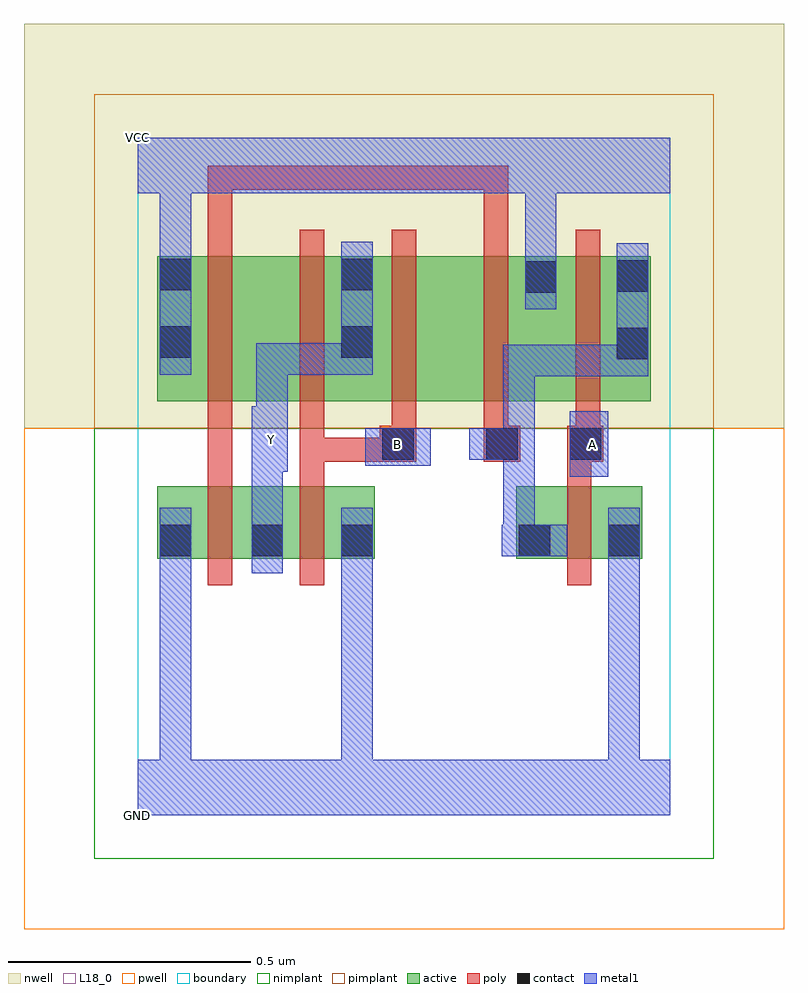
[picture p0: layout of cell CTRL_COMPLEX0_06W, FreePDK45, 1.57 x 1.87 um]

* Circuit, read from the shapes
.subckt CTRL_COMPLEX0_06W A B GND VCC Y
M1 Y n1 GND VSUBS nfet w=0.15u l=0.05u
M2 GND B Y VSUBS nfet w=0.15u l=0.05u
M3 GND A n1 VSUBS nfet w=0.15u l=0.05u
M4 n2 n1 VCC n3 pfet w=0.3u l=0.05u
M5 Y B n2 n3 pfet w=0.3u l=0.05u
M6 n4 B Y n3 pfet w=0.3u l=0.05u
M7 VCC n1 n4 n3 pfet w=0.3u l=0.05u
M8 n1 A VCC n3 pfet w=0.3u l=0.05u
.ends

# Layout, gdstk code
import gdstk
lib = gdstk.Library(unit=1e-6, precision=1e-09)
def R(c, l, rs):  # rectangles x0, y0, x1, y1
    for r in rs: c.add(gdstk.rectangle(r[:2], r[2:], *l))
def A(c, l, x, y, w, h, nx, ny, dx, dy):  # array of equal rectangles
    R(c, l, [(x+i*dx, y+j*dy, x+i*dx+w, y+j*dy+h) for i in range(nx) for j in range(ny)])
active = (1, 0)
pwell = (2, 0)
nwell = (3, 0)
nimplant = (4, 0)
pimplant = (5, 0)
poly = (9, 0)
contact = (10, 0)
metal1 = (11, 0)
L18_0 = (18, 0)
boundary = (235, 0)

ctrl_complex0_06w = lib.new_cell('CTRL_COMPLEX0_06W')
R(ctrl_complex0_06w, active, [(0.04,0.53,0.115,0.68), (0.04,0.53,0.305,0.68), (0.23,0.53,0.305,0.68), (0.23,0.53,0.49,0.68), (0.415,0.53,0.49,0.68), (0.782,0.53,0.857,0.68), (0.782,0.53,1.042,0.68), (0.967,0.53,1.042,0.68), (0.04,0.855,0.115,1.155), (0.04,0.855,0.265,1.155), (0.265,0.855,0.49,1.155), (0.415,0.855,0.645,1.155), (0.645,0.855,0.87,1.155), (0.795,0.855,0.87,1.155), (0.795,0.855,1.06,1.155), (0.985,0.855,1.06,1.155), (0.415,0.882,0.49,1.155)])
R(ctrl_complex0_06w, pwell, [(-0.235,-0.235,1.335,0.8)])
R(ctrl_complex0_06w, nwell, [(-0.235,0.8,1.335,1.635)])
R(ctrl_complex0_06w, nimplant, [(-0.09,-0.09,1.19,0.8)])
R(ctrl_complex0_06w, pimplant, [(-0.09,0.8,1.19,1.49)])
A(ctrl_complex0_06w, poly, 0.525, 0.755, 0.05, 0.095, 3, 1, 0.19, 0)
A(ctrl_complex0_06w, poly, 0.145, 0.8, 0.05, 0.41, 5, 1, 0.19, 0)
R(ctrl_complex0_06w, poly, [(0.145,0.475,0.195,0.735), (0.335,0.475,0.385,0.735), (0.887,0.475,0.937,0.735), (0.145,0.685,0.195,0.805), (0.335,0.685,0.385,0.78), (0.887,0.685,0.937,0.78), (0.335,0.73,0.385,0.78), (0.335,0.73,0.385,0.78), (0.335,0.73,0.385,0.78), (0.335,0.73,0.55,0.78), (0.335,0.73,0.385,0.85), (0.5,0.73,0.575,0.805), (0.715,0.73,0.79,0.805), (0.887,0.73,0.962,0.805), (0.145,0.755,0.195,0.85), (0.145,0.755,0.195,0.805), (0.145,1.16,0.195,1.342), (0.715,1.16,0.765,1.342), (0.145,1.292,0.195,1.342), (0.145,1.292,0.195,1.342), (0.145,1.292,0.195,1.342), (0.145,1.292,0.417,1.342), (0.367,1.292,0.417,1.342), (0.367,1.292,0.542,1.342), (0.492,1.292,0.632,1.342), (0.492,1.292,0.542,1.342), (0.582,1.292,0.632,1.342), (0.582,1.292,0.675,1.342), (0.625,1.292,0.765,1.342), (0.625,1.292,0.675,1.342), (0.715,1.292,0.765,1.342)])
R(ctrl_complex0_06w, contact, [(0.045,0.535,0.11,0.6), (0.235,0.535,0.3,0.6), (0.42,0.535,0.485,0.6), (0.787,0.535,0.852,0.6), (0.972,0.535,1.037,0.6), (0.505,0.735,0.57,0.8), (0.72,0.735,0.785,0.8), (0.892,0.735,0.957,0.8), (0.99,0.942,1.055,1.007), (0.045,0.945,0.11,1.01), (0.42,0.945,0.485,1.01), (0.8,1.08,0.865,1.145), (0.99,1.082,1.055,1.147), (0.045,1.085,0.11,1.15), (0.42,1.085,0.485,1.15)])
R(ctrl_complex0_06w, metal1, [(0,0,1.1,0.115), (0.045,0.05,0.11,0.115), (0.045,0.05,0.11,0.115), (0.045,0.05,0.11,0.427), (0.42,0.05,0.485,0.115), (0.42,0.05,0.485,0.115), (0.42,0.05,0.485,0.115), (0.42,0.05,0.485,0.115), (0.42,0.05,0.485,0.115), (0.42,0.05,0.485,0.115), (0.42,0.05,0.485,0.565), (0.972,0.05,1.037,0.565), (0.045,0.362,0.11,0.427), (0.045,0.362,0.11,0.427), (0.045,0.362,0.11,0.427), (0.045,0.362,0.11,0.427), (0.045,0.362,0.11,0.427), (0.045,0.362,0.11,0.565), (0.045,0.5,0.11,0.635), (0.235,0.5,0.3,0.635), (0.42,0.5,0.485,0.565), (0.42,0.5,0.485,0.565), (0.42,0.5,0.485,0.635), (0.972,0.5,1.037,0.565), (0.972,0.5,1.037,0.565), (0.972,0.5,1.037,0.565), (0.972,0.5,1.037,0.565), (0.972,0.5,1.037,0.565), (0.972,0.5,1.037,0.565), (0.972,0.5,1.037,0.565), (0.972,0.5,1.037,0.565), (0.972,0.5,1.037,0.635), (0.752,0.535,0.887,0.6), (0.755,0.535,0.82,0.8), (0.235,0.57,0.3,0.775), (0.892,0.7,0.972,0.835), (0.235,0.71,0.31,0.845), (0.47,0.722,0.605,0.8), (0.685,0.735,0.82,0.8), (0.755,0.735,0.82,0.8), (0.755,0.735,0.82,0.8), (0.755,0.735,0.82,0.972), (0.245,0.78,0.31,0.975), (0.755,0.907,0.82,0.972), (0.755,0.907,1.055,0.972), (0.99,0.907,1.055,0.972), (0.99,0.907,1.055,0.972), (0.99,0.907,1.055,1.182), (0.045,0.91,0.11,1.185), (0.245,0.91,0.31,0.975), (0.245,0.91,0.31,0.975), (0.245,0.91,0.31,0.975), (0.245,0.91,0.485,0.975), (0.42,0.91,0.485,1.185), (0.8,1.045,0.865,1.182), (0.8,1.117,0.865,1.35), (0.045,1.12,0.11,1.185), (0.045,1.12,0.11,1.185), (0.045,1.12,0.11,1.35), (0,1.285,1.1,1.4), (0.8,1.285,0.865,1.35), (0.8,1.285,0.865,1.35)])
R(ctrl_complex0_06w, L18_0, [(0,0,1.1,0.115), (0.045,0.05,0.11,0.115), (0.045,0.05,0.11,0.115), (0.045,0.05,0.11,0.427), (0.42,0.05,0.485,0.115), (0.42,0.05,0.485,0.115), (0.42,0.05,0.485,0.115), (0.42,0.05,0.485,0.115), (0.42,0.05,0.485,0.115), (0.42,0.05,0.485,0.115), (0.42,0.05,0.485,0.565), (0.972,0.05,1.037,0.565), (0.045,0.362,0.11,0.427), (0.045,0.362,0.11,0.427), (0.045,0.362,0.11,0.427), (0.045,0.362,0.11,0.427), (0.045,0.362,0.11,0.427), (0.045,0.362,0.11,0.565), (0.045,0.5,0.11,0.635), (0.235,0.5,0.3,0.635), (0.42,0.5,0.485,0.565), (0.42,0.5,0.485,0.565), (0.42,0.5,0.485,0.635), (0.972,0.5,1.037,0.565), (0.972,0.5,1.037,0.565), (0.972,0.5,1.037,0.565), (0.972,0.5,1.037,0.565), (0.972,0.5,1.037,0.565), (0.972,0.5,1.037,0.565), (0.972,0.5,1.037,0.565), (0.972,0.5,1.037,0.565), (0.972,0.5,1.037,0.635), (0.235,0.57,0.3,0.775), (0.892,0.7,0.972,0.835), (0.235,0.71,0.31,0.845), (0.47,0.722,0.605,0.8), (0.505,0.735,0.57,0.8), (0.907,0.735,0.972,0.8), (0.245,0.745,0.31,0.81), (0.245,0.78,0.31,0.975), (0.045,0.91,0.11,1.185), (0.245,0.91,0.31,0.975), (0.245,0.91,0.31,0.975), (0.245,0.91,0.31,0.975), (0.245,0.91,0.485,0.975), (0.42,0.91,0.485,1.185), (0.8,1.045,0.865,1.182), (0.8,1.117,0.865,1.35), (0.045,1.12,0.11,1.185), (0.045,1.12,0.11,1.185), (0.045,1.12,0.11,1.35), (0,1.285,1.1,1.4), (0.8,1.285,0.865,1.35), (0.8,1.285,0.865,1.35)])
R(ctrl_complex0_06w, boundary, [(0,0,1.1,1.4)])
ctrl_complex0_06w.add(gdstk.Label('A', (0.94,0.767), layer=11, texttype=0))
ctrl_complex0_06w.add(gdstk.Label('B', (0.537,0.767), layer=11, texttype=0))
ctrl_complex0_06w.add(gdstk.Label('Y', (0.277,0.777), layer=11, texttype=0))
ctrl_complex0_06w.add(gdstk.Label('VCC', (0,1.4), layer=11, texttype=0))
ctrl_complex0_06w.add(gdstk.Label('GND', (0,0), layer=11, texttype=0))

lib.write_gds('CTRL_COMPLEX0_06W.gds')
